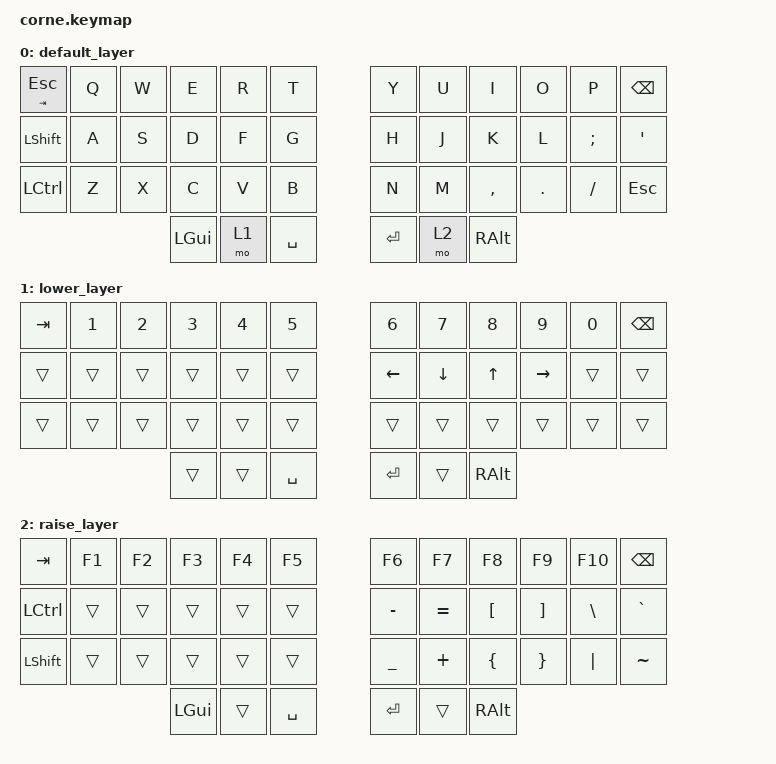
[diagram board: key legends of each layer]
/*
 * Copyright (c) 2020 The ZMK Contributors
 *
 * SPDX-License-Identifier: MIT
 */

#include <behaviors.dtsi>
#include <dt-bindings/zmk/bt.h>
#include <dt-bindings/zmk/keys.h>

/ {
    keymap {
        compatible = "zmk,keymap";

        default_layer {
            // -----------------------------------------------------------------------------------------
            // |  TAB |  Q  |  W  |  E  |  R  |  T  |   |  Y  |  U   |  I  |  O  |  P  | BKSP |
            // | CTRL |  A  |  S  |  D  |  F  |  G  |   |  H  |  J   |  K  |  L  |  ;  |  '   |
            // | SHFT |  Z  |  X  |  C  |  V  |  B  |   |  N  |  M   |  ,  |  .  |  /  | ESC  |
            //                    | GUI | LWR | SPC |   | ENT | RSE  | ALT |

            bindings = <
&mt TAB ESC    &kp Q  &kp W  &kp E     &kp R  &kp T        &kp Y    &kp U  &kp I      &kp O    &kp P     &kp BSPC
&kp LSHFT  &kp A  &kp S  &kp D     &kp F  &kp G        &kp H    &kp J  &kp K      &kp L    &kp SEMI  &kp SQT
&kp LCTRL  &kp Z  &kp X  &kp C     &kp V  &kp B        &kp N    &kp M  &kp COMMA  &kp DOT  &kp FSLH  &kp ESC
                         &kp LGUI  &mo 1  &kp SPACE    &kp RET  &mo 2  &kp RALT
            >;
        };

        lower_layer {
            // -----------------------------------------------------------------------------------------
            // |  TAB |  1  |  2  |  3  |  4  |  5  |   |  6  |  7  |  8  |  9  |  0  | BKSP |
            // | BTCLR| BT1 | BT2 | BT3 | BT4 | BT5 |   | LFT | DWN |  UP | RGT |     |      |
            // | SHFT |     |     |     |     |     |   |     |     |     |     |     |      |
            //                    | GUI |     | SPC |   | ENT |     | ALT |

            bindings = <
&kp TAB          &kp N1           &kp N2          &kp N3           &kp N4           &kp N5             &kp N6    &kp N7    &kp N8    &kp N9     &kp N0  &kp BSPC
&trans    &trans  &trans  &trans     &trans  &trans      &kp LEFT  &kp DOWN  &kp UP    &kp RIGHT  &trans  &trans
&trans    &trans  &trans  &trans     &trans  &trans      &trans    &trans    &trans    &trans     &trans  &trans
                                                  &trans    &trans           &kp SPACE          &kp RET   &trans    &kp RALT
            >;
        };

        raise_layer {
            // -----------------------------------------------------------------------------------------
            // |  TAB |  F1 |  F2 |  F3 |  F4 |  F5 |   |  F6 |  F7 |  F8 |  F9 | F10 | BKSP |
            // | CTRL |     |     |     |     |     |   |  -  |  =  |  [  |  ]  |  \  |  `   |
            // | SHFT |     |     |     |     |     |   |  _  |  +  |  {  |  }  | "|" |  ~   |
            //                    | GUI |     | SPC |   | ENT |     | ALT |

            bindings = <
&kp TAB    &kp F1  &kp F2  &kp F3    &kp F4    &kp F5       &kp F6     &kp F7   &kp F8    &kp F9   &kp F10  &kp BSPC
&kp LCTRL  &trans  &trans  &trans    &trans    &trans       &kp MINUS  &kp EQUAL  &kp LBKT  &kp RBKT  &kp BSLH  &kp GRAVE
&kp LSHFT  &trans  &trans  &trans    &trans    &trans       &kp UNDER  &kp PLUS   &kp LBRC  &kp RBRC  &kp PIPE  &kp TILDE
                             &kp LGUI  &trans    &kp SPACE    &kp RET    &trans     &kp RALT
            >;
        };
    };
};
